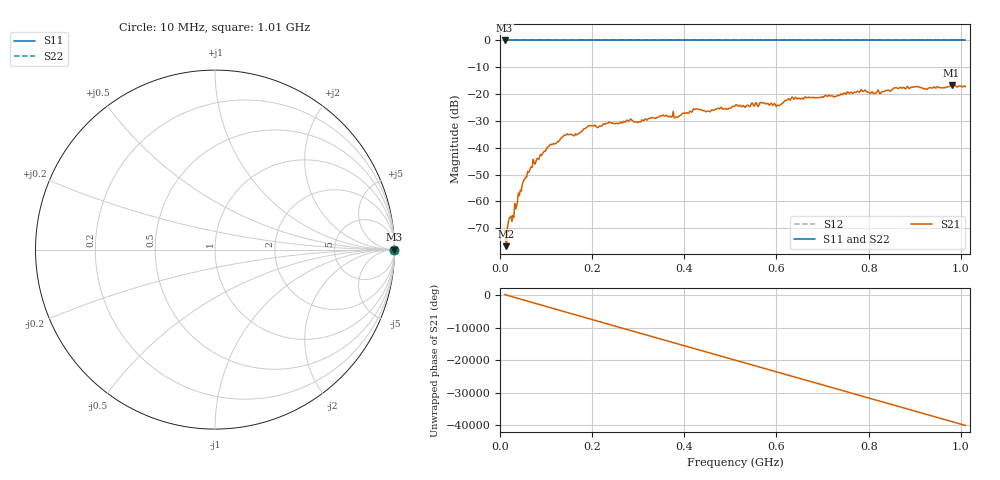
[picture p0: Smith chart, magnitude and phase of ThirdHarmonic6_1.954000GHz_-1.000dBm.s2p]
! 8/16/2025 11:31:39 PM
! C:\ANRITSUVNA\TEMP\TEMP.S2P
! CHANNEL.1
! TR.MEASUREMENT
! RAW.DATA
! RF.CORRECTION.OFF
! AVERAGING.OFF
! IF.BANDWIDTH: 5KHZ
! SWEEPTYPE:  FREQ.SWEEP(Linear)
! Reference Plane Port Info
! PORT:  PORT1  PORT2
! DISTANCE:  0  m  0  m
! TIME:  0  s  0  s
! PHASE.OFFSET:  0  deg.  0  deg.
! LOSS:  0  dB  0  dB
! REF.LOSS:  0  dB  0  dB
! REF.FREQ:  0  Hz  0  Hz
! Power Info
! POWER:  -20  dBm  -20  dBm
! EFF.POWER:  -20  dBm  -20  dBm
! SOURCE.ATTEN:  0  dB  0  dB
! TEST.ATTEN:  0  dB  0  dB
# GHZ S RI R 50.0
! FREQ.GHZ  S11RE  S11IM  S21RE  S21IM  S12RE  S12IM  S22RE  S22IM
!; PortSelection: Port_12
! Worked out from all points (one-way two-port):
!   501 points, 10 MHz to 1.01 GHz, reference 50 ohm
!   highest |S21| = -16.74 dB at 980 MHz (marker M1); lowest = -76.7 dB at 14 MHz (marker M2)
!   lowest |S11| = 0.0 dB at 10 MHz (marker M3)
!   |S11| at or under -10 dB: nowhere
!   |S22| runs from 0.0 to 0.0 dB; largest |S21 - S12| = 1.1
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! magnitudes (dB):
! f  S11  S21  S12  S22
! 10 MHz  0.0  -70.6  0.0  0.0
! 14 MHz  0.0  -76.7  0.0  0.0
! 20 MHz  0.0  -66.2  0.0  0.0
! 30 MHz  0.0  -65.9  0.0  0.0
! 52 MHz  0.0  -52.0  0.0  0.0
! 70 MHz  0.0  -47.3  0.0  0.0
! 106 MHz  0.0  -39.6  0.0  0.0
! 142 MHz  0.0  -35.3  0.0  0.0
! 178 MHz  0.0  -33.7  0.0  0.0
! 196 MHz  0.0  -31.8  0.0  0.0
! 344 MHz  0.0  -28.6  0.0  0.0
! 382 MHz  0.0  -28.5  0.0  0.0
! 424 MHz  0.0  -25.7  0.0  0.0
! 452 MHz  0.0  -26.3  0.0  0.0
! 510 MHz  0.0  -24.4  0.0  0.0
! 568 MHz  0.0  -23.3  0.0  0.0
! 604 MHz  0.0  -24.2  0.0  0.0
! 630 MHz  0.0  -22.3  0.0  0.0
! 678 MHz  0.0  -21.3  0.0  0.0
! 844 MHz  0.0  -18.6  0.0  0.0
! 980 MHz  0.0  -16.7  0.0  0.0
! 1.01 GHz  0.0  -17.2  0.0  0.0
